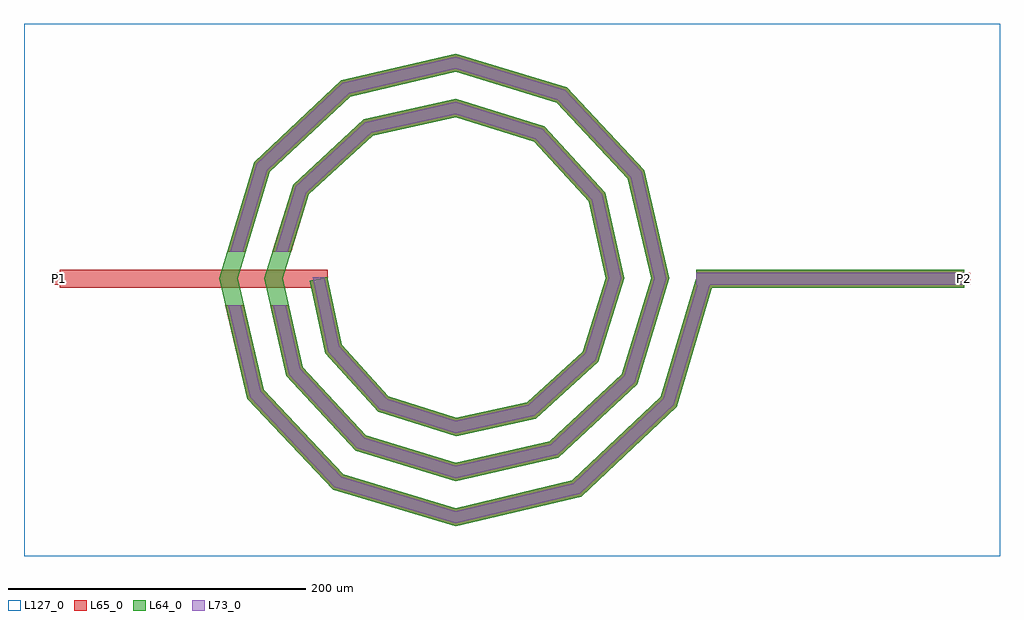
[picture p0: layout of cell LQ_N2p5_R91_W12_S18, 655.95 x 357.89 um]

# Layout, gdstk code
import gdstk
lib = gdstk.Library(unit=1e-6, precision=1e-09)
def R(c, l, rs):  # rectangles x0, y0, x1, y1
    for r in rs: c.add(gdstk.rectangle(r[:2], r[2:], *l))
def P(c, l, *ps):  # polygons
    for p in ps: c.add(gdstk.Polygon(p, *l))
L64_0 = (64, 0)
L65_0 = (65, 0)
L73_0 = (73, 0)
L127_0 = (127, 0)

lq_n2p5_r91_w12_s18 = lib.new_cell('LQ_N2p5_R91_W12_S18')
R(lq_n2p5_r91_w12_s18, L64_0, [(161.906,-6,341.906,6)])
P(lq_n2p5_r91_w12_s18, L64_0, [(-76.375,-44.452),(-45.187,-78.87),(0.294,-93.425),(48.225,-82.955),(85.428,-48.999),(101.011,0.273),(89.534,52.001),(52.808,91.988),(0.255,108.596),(-55.779,96.112),(-98.549,56.615),(-116.182,0.239),(-102.689,-59.558),(-60.42,-105.111),(0.225,-123.767),(63.339,-109.265),(111.674,-64.224),(131.353,0.213),(115.84,67.122),(68.027,118.237),(0.202,138.939),(-70.906,122.415),(-124.802,71.829),(-146.525,0.192),(-128.99,-74.69),(-75.63,-131.367),(0.183,-154.111),(78.475,-135.564),(137.932,-79.431),(162.157,1.716),(173.655,-1.716),(148.51,-85.947),(84.373,-146.499),(0.183,-166.529),(-82.161,-141.936),(-139.933,-80.572),(-158.943,0.192),(-135.361,78.376),(-76.771,133.368),(0.202,151.357),(74.592,128.786),(126.803,72.968),(143.77,0.213),(122.21,-70.809),(69.165,-120.239),(0.225,-136.184),(-67.026,-115.633),(-113.676,-65.36),(-128.597,0.239),(-109.056,63.246),(-61.553,107.113),(0.255,121.01),(59.467,102.478),(100.551,57.745),(113.424,0.273),(95.898,-55.69),(53.935,-93.991),(0.294,-105.837),(-51.915,-89.316),(-87.432,-50.121),(-97.911,-1.258),(-86.178,1.258)])
R(lq_n2p5_r91_w12_s18, L65_0, [(-266.045,-6,-86.045,6), (161.906,-6,341.906,6), (-270.045,-4,-262.045,4), (337.906,-4,345.906,4)])
P(lq_n2p5_r91_w12_s18, L65_0, [(-128.99,-74.69),(-75.63,-131.367),(0.183,-154.111),(78.475,-135.564),(137.932,-79.431),(162.157,1.716),(173.655,-1.716),(148.51,-85.947),(84.373,-146.499),(0.183,-166.529),(-82.161,-141.936),(-139.933,-80.572),(-154.661,-18),(-142.333,-18)],
  [(-102.689,-59.558),(-60.42,-105.111),(0.225,-123.767),(63.339,-109.265),(111.674,-64.224),(131.353,0.213),(115.84,67.122),(68.027,118.238),(0.202,138.939),(-70.906,122.415),(-124.802,71.829),(-141.038,18),(-153.572,18),(-135.361,78.376),(-76.771,133.368),(0.202,151.357),(74.592,128.786),(126.803,72.968),(143.77,0.213),(122.21,-70.809),(69.165,-120.239),(0.225,-136.184),(-67.027,-115.634),(-113.676,-65.36),(-124.448,-18),(-112.142,-18)],
  [(-45.187,-78.87),(0.294,-93.425),(48.225,-82.955),(85.428,-48.999),(101.011,0.273),(89.534,52.001),(52.808,91.988),(0.255,108.596),(-55.779,96.112),(-98.549,56.615),(-110.525,18),(-123.089,18),(-109.056,63.246),(-61.553,107.113),(0.255,121.01),(59.467,102.478),(100.551,57.745),(113.424,0.273),(95.898,-55.69),(53.935,-93.991),(0.294,-105.837),(-51.915,-89.316),(-87.432,-50.121),(-97.912,-1.258),(-86.178,1.258),(-76.375,-44.452)])
R(lq_n2p5_r91_w12_s18, L73_0, [(161.906,-4,341.906,4)])
P(lq_n2p5_r91_w12_s18, L73_0, [(-130.814,-75.671),(-76.719,-133.128),(0.122,-156.18),(79.458,-137.386),(139.695,-80.517),(164.073,1.144),(171.739,-1.144),(146.747,-84.861),(83.39,-144.676),(0.122,-164.46),(-81.073,-140.174),(-138.109,-79.592),(-152.606,-18),(-144.388,-18)],
  [(-104.52,-60.525),(-61.521,-106.865),(0.15,-125.837),(64.31,-111.094),(113.43,-65.322),(133.423,0.142),(117.668,68.096),(69.121,119.996),(0.135,141.009),(-71.883,124.241),(-126.562,72.92),(-143.127,18),(-151.483,18),(-133.601,77.285),(-75.793,131.542),(0.135,149.287),(73.498,127.028),(124.976,71.994),(141.701,0.142),(120.454,-69.711),(68.194,-118.41),(0.15,-134.114),(-65.925,-113.88),(-111.845,-64.393),(-122.397,-18),(-114.193,-18)],
  [(-46.309,-80.611),(0.196,-95.494),(49.177,-84.794),(87.173,-50.114),(103.079,0.182),(91.37,52.958),(53.918,93.736),(0.17,110.665),(-56.741,97.945),(-100.3,57.72),(-112.619,18),(-120.995,18),(-107.305,62.141),(-60.591,105.28),(0.17,118.941),(58.357,100.729),(98.715,56.788),(111.355,0.182),(94.153,-54.575),(52.983,-92.152),(0.196,-103.768),(-50.794,-87.575),(-85.589,-49.176),(-95.956,0.839),(-88.134,0.839),(-78.217,-45.397)])
R(lq_n2p5_r91_w12_s18, L127_0, [(-290.045,-186.529,365.906,171.357)])
lq_n2p5_r91_w12_s18.add(gdstk.Label('P2', (341.906,0), layer=65, texttype=0))
lq_n2p5_r91_w12_s18.add(gdstk.Label('P1', (-266.045,0), layer=65, texttype=0))
lq_n2p5_r91_w12_s18.add(gdstk.Label('P2', (345.906,0), layer=145, texttype=0))
lq_n2p5_r91_w12_s18.add(gdstk.Label('P1', (-270.045,0), layer=145, texttype=0))

lib.write_gds('LQ_N2p5_R91_W12_S18.gds')
